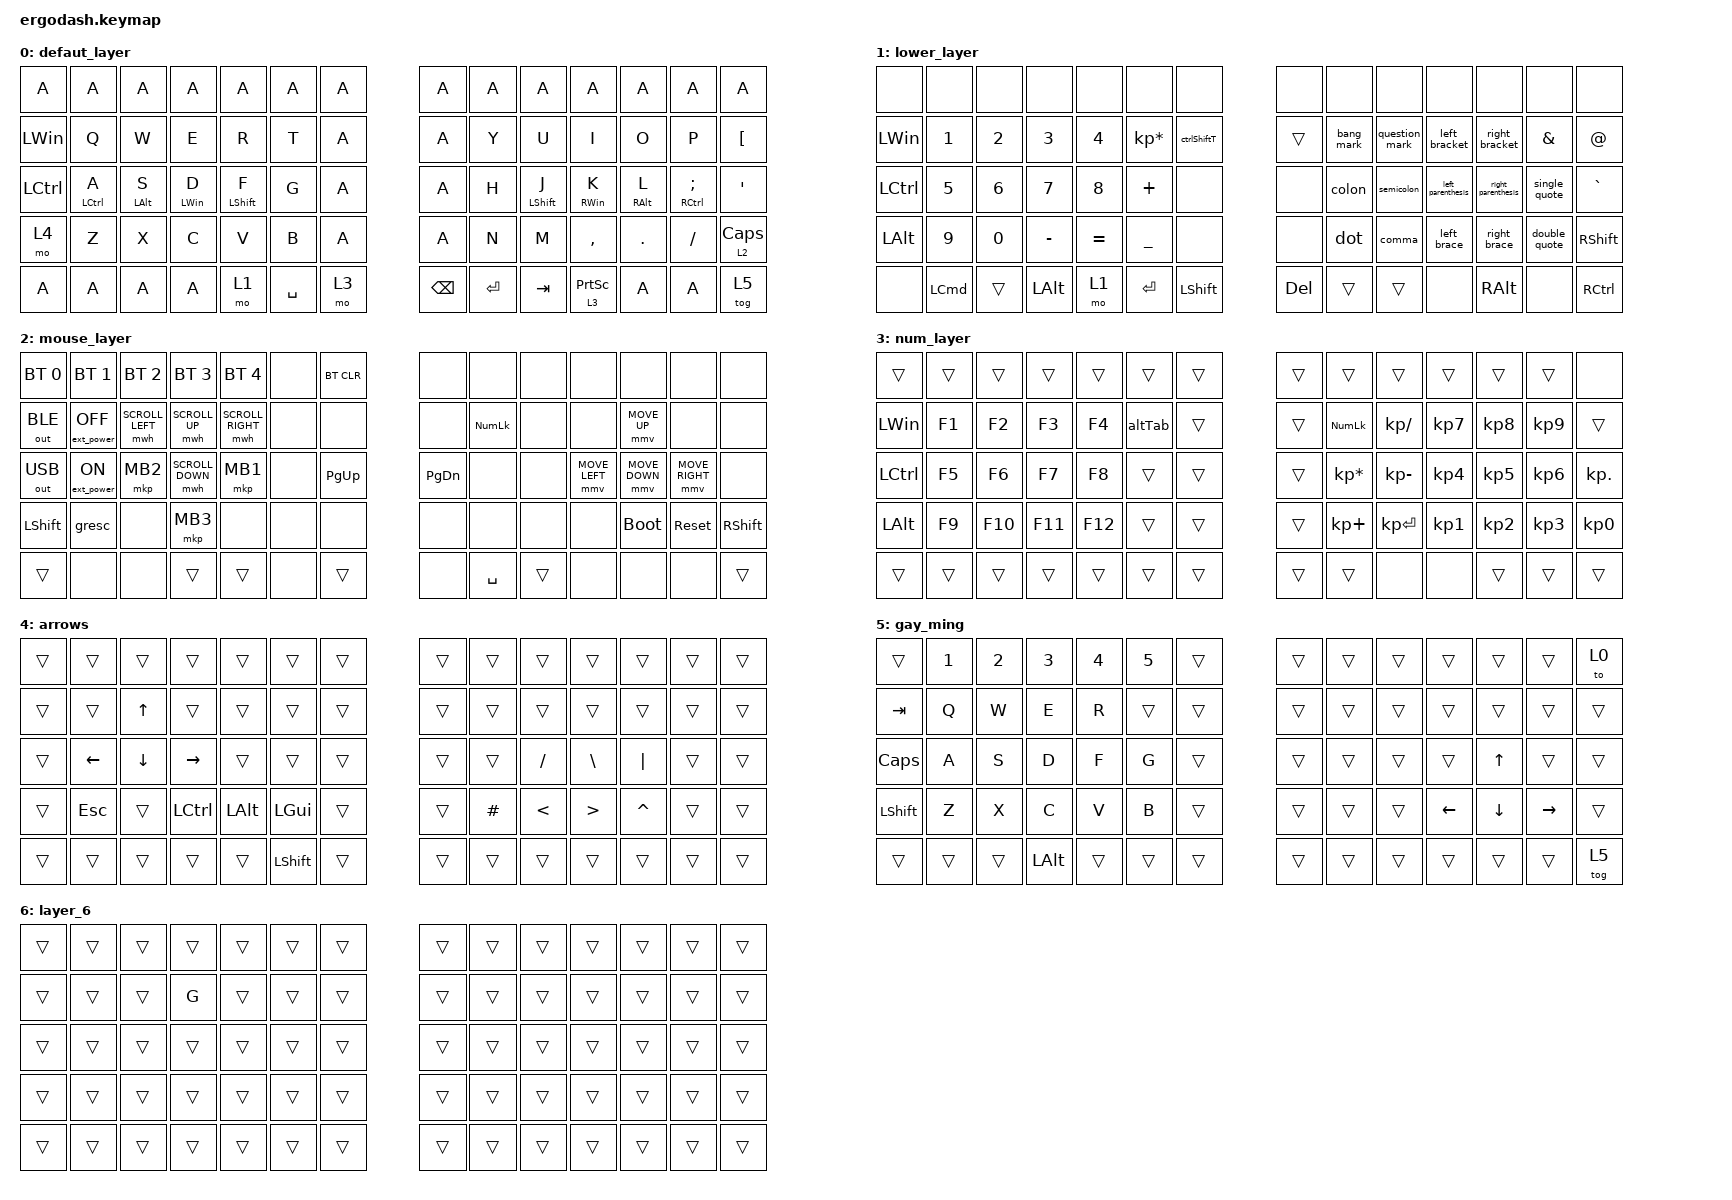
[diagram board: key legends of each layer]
#define DEFAULT 0
#define LOWER   1
#define RAISE   2
#define NUM     3
#define GAYMING 4

#include "mouse.dtsi"
#include <behaviors.dtsi>
#include <dt-bindings/zmk/bt.h>
#include <dt-bindings/zmk/ext_power.h>
#include <dt-bindings/zmk/keys.h>
#include <dt-bindings/zmk/mouse.h>
#include <dt-bindings/zmk/outputs.h>

&lt {
    quick_tap_ms = <175>;
    quick-tap-ms = <280>;
    flavor = "balanced";
    hold-trigger-on-release;
};

&mt {
    quick_tap_ms = <200>;
    quick-tap-ms = <200>;
};

/ {
    combos {
        compatible = "zmk,combos";

        space_mainU {
            bindings = <&kp SPACE>;
            key-positions = <29 30 31 32>;
        };

        enter_left {
            bindings = <&kp ENTER>;
            key-positions = <32 31 30>;
        };

        volup {
            bindings = <&kp C_VOLUME_UP>;
            key-positions = <14 15>;
        };

        voldown {
            bindings = <&kp C_VOL_DN>;
            key-positions = <28 29>;
        };

        mute {
            bindings = <&kp C_MUTE>;
            key-positions = <14 28>;
        };

        stop {
            bindings = <&kp C_STOP>;
            key-positions = <15 43>;
        };

        play {
            bindings = <&kp C_PLAY_PAUSE>;
            key-positions = <42 43>;
        };

        next {
            bindings = <&kp C_NEXT>;
            key-positions = <42 15>;
        };

        prev {
            bindings = <&kp C_PREV>;
            key-positions = <42 29>;
        };

        tab_left {
            bindings = <&kp TAB>;
            key-positions = <32 31>;
        };

        bs_left {
            bindings = <&kp BACKSPACE>;
            key-positions = <32 30>;
        };

        function_layer1 {
            bindings = <&mo 3>;
            key-positions = <60 61>;
        };

        function_layer2 {
            bindings = <&mo 3>;
            key-positions = <65 37>;
        };

        lang1 {
            bindings = <&lang>;
            key-positions = <18 17>;
        };

        question_mark {
            bindings = <&question_mark>;
            key-positions = <37 25>;
        };

        right_alt_left {
            bindings = <&kp RIGHT_ALT>;
            key-positions = <18 42>;
        };

        right_alt_right {
            bindings = <&kp RIGHT_ALT>;
            key-positions = <23 55>;
        };

        right_ctrl_left {
            bindings = <&kp RCTRL>;
            key-positions = <18 28>;
        };

        right_ctrl_right {
            bindings = <&kp RCTRL>;
            key-positions = <55 23>;
        };

        bang {
            bindings = <&bang_mark>;
            key-positions = <23 39>;
        };

        left_parenthesis {
            bindings = <&kp LEFT_PARENTHESIS>;
            key-positions = <38 23>;
        };

        right_parenthesis {
            bindings = <&kp RIGHT_PARENTHESIS>;
            key-positions = <23 24>;
        };

        insert {
            bindings = <&kp INSERT>;
            key-positions = <64 65>;
        };

        page_up {
            bindings = <&kp PAGE_UP>;
            key-positions = <43 46>;
        };

        page_down {
            bindings = <&kp PAGE_DOWN>;
            key-positions = <32 29>;
        };

        home {
            bindings = <&kp HOME>;
            key-positions = <16 17>;
        };

        end {
            bindings = <&kp END>;
            key-positions = <30 31>;
        };

        layer_3 {
            bindings = <&mo 3>;
            key-positions = <46 60>;
        };

        delete_1 {
            bindings = <&kp DELETE>;
            key-positions = <31 17>;
        };
    };

    macros {
        cons: cons {
            compatible = "zmk,behavior-macro";
            label = "cons";
            #binding-cells = <0>;
            bindings =
                <&macro_press>,
                <&kp LCTRL &kp SPACE>,
                <&macro_release>,
                <&kp SPACE &kp LCTRL>;
        };

        ctrlShiftT: ctrlShiftT {
            compatible = "zmk,behavior-macro";
            label = "ctrlShiftT";
            #binding-cells = <0>;
            bindings =
                <&macro_press>,
                <&kp LCTRL &kp LEFT_SHIFT &kp T>,
                <&macro_release>,
                <&kp LCTRL &kp LEFT_SHIFT &kp T>;
        };

        ctrlShiftEsc: ctrlShiftEsc {
            compatible = "zmk,behavior-macro";
            label = "ctrlShiftEsc";
            #binding-cells = <0>;
            bindings =
                <&macro_press>,
                <&kp LCTRL &kp LEFT_SHIFT &kp ESC>,
                <&macro_release>,
                <&kp LCTRL &kp LEFT_SHIFT &kp ESC>;
        };

        lang: lang {
            compatible = "zmk,behavior-macro";
            label = "lang";
            #binding-cells = <0>;
            bindings =
                <&macro_press>,
                <&kp LEFT_ALT &kp LEFT_SHIFT>,
                <&macro_release>,
                <&kp LALT &kp LEFT_SHIFT>;
        };

        lang2: lang2 {
            compatible = "zmk,behavior-macro";
            label = "LANG2";
            #binding-cells = <0>;
            bindings =
                <&macro_press>,
                <&kp LWIN &kp SPACE>,
                <&macro_release>,
                <&kp LEFT_WIN &kp SPACE>;
        };

        altTab: altTab {
            compatible = "zmk,behavior-macro";
            label = "ALTTAB";
            #binding-cells = <0>;
            bindings =
                <&macro_press>,
                <&kp LEFT_ALT &kp TAB>,
                <&macro_release>,
                <&kp LEFT_ALT &kp TAB>;
        };

        dot: dot {
            compatible = "zmk,behavior-macro";
            #binding-cells = <0>;
            bindings =
                <&macro_press>,
                <&kp LEFT_ALT>,
                <&macro_press>,
                <&kp KP_NUMBER_4>,
                <&macro_release>,
                <&kp KP_N4>,
                <&macro_press>,
                <&kp KP_NUMBER_6>,
                <&macro_release>,
                <&kp KP_NUMBER_6 &kp LEFT_ALT>;

            label = "DOT";
        };

        comma: comma {
            compatible = "zmk,behavior-macro";
            #binding-cells = <0>;
            bindings =
                <&macro_press>,
                <&kp LEFT_ALT>,
                <&macro_press>,
                <&kp KP_NUMBER_4>,
                <&macro_release>,
                <&kp KP_N4>,
                <&macro_press>,
                <&kp KP_N4>,
                <&macro_release>,
                <&kp KP_N4 &kp LEFT_ALT>;

            label = "COMMA";
        };

        left_bracket: left_bracket {
            compatible = "zmk,behavior-macro";
            #binding-cells = <0>;
            bindings =
                <&macro_press>,
                <&kp LEFT_ALT>,
                <&macro_press>,
                <&kp KP_NUMBER_9>,
                <&macro_release>,
                <&kp KP_N9>,
                <&macro_press>,
                <&kp KP_N1>,
                <&macro_release>,
                <&kp KP_N1 &kp LEFT_ALT>;

            label = "LEFT_BRACKET";
        };

        right_bracket: right_bracket {
            compatible = "zmk,behavior-macro";
            #binding-cells = <0>;
            bindings =
                <&macro_press>,
                <&kp LEFT_ALT>,
                <&macro_press>,
                <&kp KP_NUMBER_9>,
                <&macro_release>,
                <&kp KP_N9>,
                <&macro_press>,
                <&kp KP_N3>,
                <&macro_release>,
                <&kp KP_N3 &kp LEFT_ALT>;

            label = "RIGHT_BRACKET";
        };

        left_brace: left_brace {
            compatible = "zmk,behavior-macro";
            #binding-cells = <0>;
            bindings =
                <&macro_press>,
                <&kp LEFT_ALT>,
                <&macro_press>,
                <&kp KP_N1>,
                <&macro_release>,
                <&kp KP_N1>,
                <&macro_press>,
                <&kp KP_NUMBER_2>,
                <&macro_release>,
                <&kp KP_NUMBER_2>,
                <&macro_press>,
                <&kp KP_NUMBER_3>,
                <&macro_release>,
                <&kp KP_NUMBER_3 &kp LEFT_ALT>;

            label = "LEFT_BRACE";
        };

        right_brace: right_brace {
            compatible = "zmk,behavior-macro";
            #binding-cells = <0>;
            bindings =
                <&macro_press>,
                <&kp LEFT_ALT>,
                <&macro_press>,
                <&kp KP_N1>,
                <&macro_release>,
                <&kp KP_N1>,
                <&macro_press>,
                <&kp KP_NUMBER_2>,
                <&macro_release>,
                <&kp KP_NUMBER_2>,
                <&macro_press>,
                <&kp KP_NUMBER_5>,
                <&macro_release>,
                <&kp KP_N5 &kp LEFT_ALT>;

            label = "RIGHT_BRACE";
        };

        single_quote: single_quote {
            compatible = "zmk,behavior-macro";
            #binding-cells = <0>;
            bindings =
                <&macro_press>,
                <&kp LEFT_ALT>,
                <&macro_press>,
                <&kp KP_NUMBER_3>,
                <&macro_release>,
                <&kp KP_N3>,
                <&macro_press>,
                <&kp KP_N9>,
                <&macro_release>,
                <&kp KP_N9 &kp LEFT_ALT>;

            label = "SINGLE_QUOTE";
        };

        double_quote: double_quote {
            compatible = "zmk,behavior-macro";
            #binding-cells = <0>;
            bindings =
                <&macro_press>,
                <&kp LEFT_ALT>,
                <&macro_press>,
                <&kp KP_NUMBER_3>,
                <&macro_release>,
                <&kp KP_N3>,
                <&macro_press>,
                <&kp KP_NUMBER_4>,
                <&macro_release>,
                <&kp KP_NUMBER_4 &kp LEFT_ALT>;

            label = "DOUBLE_QUOTE";
        };

        colon: colon {
            compatible = "zmk,behavior-macro";
            #binding-cells = <0>;
            bindings =
                <&macro_press>,
                <&kp LEFT_ALT>,
                <&macro_press>,
                <&kp KP_N5>,
                <&macro_release>,
                <&kp KP_N5>,
                <&macro_press>,
                <&kp KP_N8>,
                <&macro_release>,
                <&kp KP_N8 &kp LEFT_ALT>;

            label = "COLON";
        };

        semicolon: semicolon {
            compatible = "zmk,behavior-macro";
            #binding-cells = <0>;
            bindings =
                <&macro_press>,
                <&kp LEFT_ALT>,
                <&macro_press>,
                <&kp KP_N5>,
                <&macro_release>,
                <&kp KP_N5>,
                <&macro_press>,
                <&kp KP_N9>,
                <&macro_release>,
                <&kp KP_N9 &kp LEFT_ALT>;

            label = "SEMICOLON";
        };

        left_parenthesis: left_parenthesis {
            compatible = "zmk,behavior-macro";
            #binding-cells = <0>;
            bindings =
                <&macro_press>,
                <&kp LEFT_ALT>,
                <&macro_press>,
                <&kp KP_N4>,
                <&macro_release>,
                <&kp KP_N4>,
                <&macro_press>,
                <&kp KP_N0>,
                <&macro_release>,
                <&kp KP_N0 &kp LEFT_ALT>;

            label = "LEFT_PARENTHESIS";
        };

        right_parenthesis: right_parenthesis {
            compatible = "zmk,behavior-macro";
            #binding-cells = <0>;
            bindings =
                <&macro_press>,
                <&kp LEFT_ALT>,
                <&macro_press>,
                <&kp KP_N4>,
                <&macro_release>,
                <&kp KP_N4>,
                <&macro_press>,
                <&kp KP_N1>,
                <&macro_release>,
                <&kp KP_N1 &kp LEFT_ALT>;

            label = "RIGHT_PARENTHESIS";
        };

        bang_mark: bang_mark {
            compatible = "zmk,behavior-macro";
            #binding-cells = <0>;
            bindings =
                <&macro_press>,
                <&kp LEFT_ALT>,
                <&macro_press>,
                <&kp KP_NUMBER_3>,
                <&macro_release>,
                <&kp KP_NUMBER_3>,
                <&macro_press>,
                <&kp KP_NUMBER_3>,
                <&macro_release>,
                <&kp KP_NUMBER_3 &kp LEFT_ALT>;

            label = "BANG_MARK";
        };

        question_mark: question_mark {
            compatible = "zmk,behavior-macro";
            #binding-cells = <0>;
            bindings =
                <&macro_press>,
                <&kp LEFT_ALT>,
                <&macro_press>,
                <&kp KP_NUMBER_6>,
                <&macro_release>,
                <&kp KP_NUMBER_6>,
                <&macro_press>,
                <&kp KP_NUMBER_3>,
                <&macro_release>,
                <&kp KP_NUMBER_3 &kp LEFT_ALT>;

            label = "QUESTION_MARK";
        };
    };

    behaviors {
        hmr: hmr {
            compatible = "zmk,behavior-hold-tap";
            label = "HMR";
            bindings = <&kp>, <&kp>;

            #binding-cells = <2>;
            tapping-term-ms = <280>;
            quick-tap-ms = <175>;
            hold-trigger-key-positions = <0 1 2 3 4 5 6 14 15 16 17 18 19 20 28 29 30 31 32 33 34 42 43 44 45 46 47 48 56 57 58 59 60 61 62 49 63 64>;
            hold-trigger-on-release;
            flavor = "balanced";
        };

        hml: hml {
            compatible = "zmk,behavior-hold-tap";
            label = "HML";
            bindings = <&kp>, <&kp>;

            #binding-cells = <2>;
            tapping-term-ms = <280>;
            quick-tap-ms = <175>;
            hold-trigger-on-release;
            flavor = "balanced";
            hold-trigger-key-positions = <7 8 9 10 11 12 13 21 22 23 24 25 26 27 35 36 37 38 39 40 41 48 49 50 51 52 53 54 55 62 63 64 65 66 67 68 69 61>;
        };
    };

    keymap {
        compatible = "zmk,keymap";

        defaut_layer {
            /* QWERTY
 * .----------------------------------------------------------------------------------------------------------------------.
 * |  `   |   1  |   2  |   3  |   4  |   5  |  [   |                    |  ]   |   6  |   7  |   8  |   9  |   0  | PScr |
 * |------+------+------+------+------+------+------+--------------------+------+------+------+------+------+------+------|
 * | ESC  |   Q  |   W  |   E  |   R  |   T  |  -   |                    |  =   |   Y  |   U  |   I  |   O  |   P  |  \   |
 * |------+------+------+------+------+------+------+--------------------+------+------+------+------+------+------+------|
 * | Tab  |   A  |   S  |   D  |   F  |   G  | Del  |                    | Bksp |   H  |   J  |   K  |   L  |   ;  |  '   |
 * |------+------+------+------+------+------+---------------------------+------+------+------+------+------+------+------|
 * | Shift|   Z  |   X  |   C  |   V  |   B  | End  |                    | Home |   N  |   M  |   ,  |   .  |   /  | Shift|
 * |-------------+------+------+------+------+------+------+------+------+------+------+------+------+------+-------------|
 * | Ctrl |      | PGDN | Win  |||||||| Alt  | Space| Lower|||||||| Raise| Enter| RAlt ||||||||      | PGUP | Ins  | RCtrl|
 * .----------------------------------------------------------------------------------------------------------------------.
 */

            bindings = <
&kp A      &kp A         &kp A            &kp A            &kp A              &kp A  &kp A                            &kp A      &kp A  &kp A              &kp A              &kp A             &kp A                 &kp A
&kp LWIN   &kp Q         &kp W            &kp E            &kp R              &kp T  &kp A                            &kp A      &kp Y  &kp U              &kp I              &kp O             &kp P                 &kp LEFT_BRACKET
&kp LCTRL  &hml LCTRL A  &hml LEFT_ALT S  &hml LEFT_WIN D  &hml LEFT_SHIFT F  &kp G  &kp A                            &kp A      &kp H  &hmr LEFT_SHIFT J  &hmr RIGHT_WIN K   &hmr RIGHT_ALT L  &hmr RCTRL SEMICOLON  &kp SQT
&mo 4      &kp Z         &kp X            &kp C            &kp V              &kp B             &kp A  &kp A                     &kp N  &kp M              &kp COMMA          &kp DOT           &kp SLASH             &lt 2 CAPSLOCK
&kp A      &kp A         &kp A            &kp A            &mo 1                     &kp SPACE  &mo 3  &kp BACKSPACE  &kp ENTER         &kp TAB            &lt 3 PRINTSCREEN  &kp A             &kp A                 &tog 5
            >;
        };

        lower_layer {
            /* .----------------------------------------------------------------------------------------------------------------------.
 * |  F11 |  F1  |  F2  |  F3  |  F4  |  F5  |      |                    |      |  F6  |  F7  |  F8  |  F9  |  F10 |  F12 |
 * |------+------+------+------+------+------+------+--------------------+------+------+------+------+------+------+------|
 * |      |      |      |      |      |      |      |                    |      |      |      |      |      |      |      |
 * |------+------+------+------+------+------+------+--------------------+------+------+------+------+------+------+------|
 * |      |      |      |      |      |      |      |                    |      |      |      |      |      |      |      |
 * |------+------+------+------+------+------+---------------------------+------+------+------+------+------+------+------|
 * | Shift| Boot | Reset|      |      |      |      |                    |      |      |      |      |      |      | Shift|
 * |-------------+------+------+------+------+------+------+------+------+------+------+------+------+------+-------------|
 * | Ctlr |      |      |  Win |||||||| Alt  |      | Lower|||||||| Raise|      | RAlt ||||||||      |      |      | RCtrl|
 * .----------------------------------------------------------------------------------------------------------------------.
 *//* FIXME boot and reset are not yet locale aware */
            bindings = <
&none         &none             &none         &none         &none         &none            &none                                    &none   &none       &none           &none              &none               &none          &none
&kp LEFT_WIN  &kp NUMBER_1      &kp NUMBER_2  &kp NUMBER_3  &kp NUMBER_4  &kp KP_MULTIPLY  &ctrlShiftT                              &trans  &bang_mark  &question_mark  &left_bracket      &right_bracket      &kp AMPERSAND  &kp AT
&kp LCTRL     &kp N5            &kp NUMBER_6  &kp N7        &kp NUMBER_8  &kp PLUS         &none                                    &none   &colon      &semicolon      &left_parenthesis  &right_parenthesis  &single_quote  &kp GRAVE
&kp LEFT_ALT  &kp N9            &kp N0        &kp MINUS     &kp EQUAL     &kp UNDERSCORE                &none           &none               &dot        &comma          &left_brace        &right_brace        &double_quote  &kp RIGHT_SHIFT
&none         &kp LEFT_COMMAND  &trans        &kp LEFT_ALT  &mo 1                          &kp ENTER    &kp LEFT_SHIFT  &kp DELETE  &trans              &trans          &none              &kp RIGHT_ALT       &none          &kp RCTRL
            >;
        };

        mouse_layer {
            /* .----------------------------------------------------------------------------------------------------------------------.
 * |      | BT 0 | BT 1 | BT 2 | BT 3 |      | BTCL |                    |      |      |      |      |      |      |      |
 * |------+------+------+------+------+------+------+--------------------+------+------+------+------+------+------+------|
 * |      |      |      |      |      |      |      |                    |      |      |      |      |      |      |      |
 * |------+------+------+------+------+------+------+--------------------+------+------+------+------+------+------+------|
 * |      |      |      |      |      |      |      |                    |      |      |      |      |      |      |      |
 * |------+------+------+------+------+------+---------------------------+------+------+------+------+------+------+------|
 * | Shift|      |      |      |      |      |      |                    |      |      |      |      | Boot | Reset| Shift|
 * |-------------+------+------+------+------+------+------+------+------+------+------+------+------+------+-------------|
 * | Ctlr |      |      |  Win |||||||| Alt  |      | Lower|||||||| Raise|      | RAlt ||||||||      |      |      | RCtrl|
 * .----------------------------------------------------------------------------------------------------------------------.
 *//* FIXME boot and reset are not yet locale aware */
            bindings = <
&bt BT_SEL 0    &bt BT_SEL 1       &bt BT_SEL 2      &bt BT_SEL 3      &bt BT_SEL 4       &none  &bt BT_CLR                  &none          &none           &none   &none           &none           &none            &none
&out OUT_BLE    &ext_power EP_OFF  &mwh SCROLL_LEFT  &mwh SCROLL_UP    &mwh SCROLL_RIGHT  &none  &none                       &none          &kp KP_NUMLOCK  &none   &none           &mmv MOVE_UP    &none            &none
&out OUT_USB    &ext_power EP_ON   &mkp MB2          &mwh SCROLL_DOWN  &mkp MB1           &none  &kp PAGE_UP                 &kp PAGE_DOWN  &none           &none   &mmv MOVE_LEFT  &mmv MOVE_DOWN  &mmv MOVE_RIGHT  &none
&kp LEFT_SHIFT  &gresc             &none             &mkp MB3          &none              &none               &none   &none                 &none           &none   &none           &bootloader     &sys_reset       &kp RIGHT_SHIFT
&trans          &none              &none             &trans            &trans                    &none        &trans  &none  &kp SPACE                      &trans  &none           &none           &none            &trans
            >;
        };

        num_layer {
            bindings = <
&trans        &trans  &trans   &trans   &trans   &trans   &trans                  &trans  &trans           &trans        &trans     &trans     &trans     &none
&kp LEFT_WIN  &kp F1  &kp F2   &kp F3   &kp F4   &altTab  &trans                  &trans  &kp KP_NUMLOCK   &kp KP_SLASH  &kp KP_N7  &kp KP_N8  &kp KP_N9  &trans
&kp LCTRL     &kp F5  &kp F6   &kp F7   &kp F8   &trans   &trans                  &trans  &kp KP_MULTIPLY  &kp KP_MINUS  &kp KP_N4  &kp KP_N5  &kp KP_N6  &kp KP_DOT
&kp LEFT_ALT  &kp F9  &kp F10  &kp F11  &kp F12  &trans           &trans  &trans          &kp KP_PLUS      &kp KP_ENTER  &kp KP_N1  &kp KP_N2  &kp KP_N3  &kp KP_N0
&trans        &trans  &trans   &trans   &trans            &trans  &trans  &trans  &trans                   &none         &none      &trans     &trans     &trans
            >;
        };

        arrows {
            bindings = <
&trans  &trans    &trans    &trans     &trans    &trans    &trans                          &trans  &trans    &trans         &trans            &trans     &trans  &trans
&trans  &trans    &kp UP    &trans     &trans    &trans    &trans                          &trans  &trans    &trans         &trans            &trans     &trans  &trans
&trans  &kp LEFT  &kp DOWN  &kp RIGHT  &trans    &trans    &trans                          &trans  &trans    &kp SLASH      &kp BACKSLASH     &kp PIPE   &trans  &trans
&trans  &kp ESC   &trans    &kp LCTRL  &kp LALT  &kp LGUI                  &trans  &trans          &kp HASH  &kp LESS_THAN  &kp GREATER_THAN  &kp CARET  &trans  &trans
&trans  &trans    &trans    &trans     &trans              &kp LEFT_SHIFT  &trans  &trans  &trans            &trans         &trans            &trans     &trans  &trans
            >;
        };

        gay_ming {
            bindings = <
&trans     &kp N1  &kp N2  &kp N3    &kp N4  &kp N5  &trans                  &trans  &trans  &trans  &trans    &trans    &trans     &to 0
&kp TAB    &kp Q   &kp W   &kp E     &kp R   &trans  &trans                  &trans  &trans  &trans  &trans    &trans    &trans     &trans
&kp CAPS   &kp A   &kp S   &kp D     &kp F   &kp G   &trans                  &trans  &trans  &trans  &trans    &kp UP    &trans     &trans
&kp LSHFT  &kp Z   &kp X   &kp C     &kp V   &kp B           &trans  &trans          &trans  &trans  &kp LEFT  &kp DOWN  &kp RIGHT  &trans
&trans     &trans  &trans  &kp LALT  &trans          &trans  &trans  &trans  &trans          &trans  &trans    &trans    &trans     &tog 5
            >;
        };

        layer_6 {
            bindings = <
&trans  &trans  &trans  &trans  &trans  &trans  &trans                  &trans  &trans  &trans  &trans  &trans  &trans  &trans
&trans  &trans  &trans  &kp G   &trans  &trans  &trans                  &trans  &trans  &trans  &trans  &trans  &trans  &trans
&trans  &trans  &trans  &trans  &trans  &trans  &trans                  &trans  &trans  &trans  &trans  &trans  &trans  &trans
&trans  &trans  &trans  &trans  &trans  &trans          &trans  &trans          &trans  &trans  &trans  &trans  &trans  &trans
&trans  &trans  &trans  &trans  &trans          &trans  &trans  &trans  &trans          &trans  &trans  &trans  &trans  &trans
            >;
        };
    };
};
